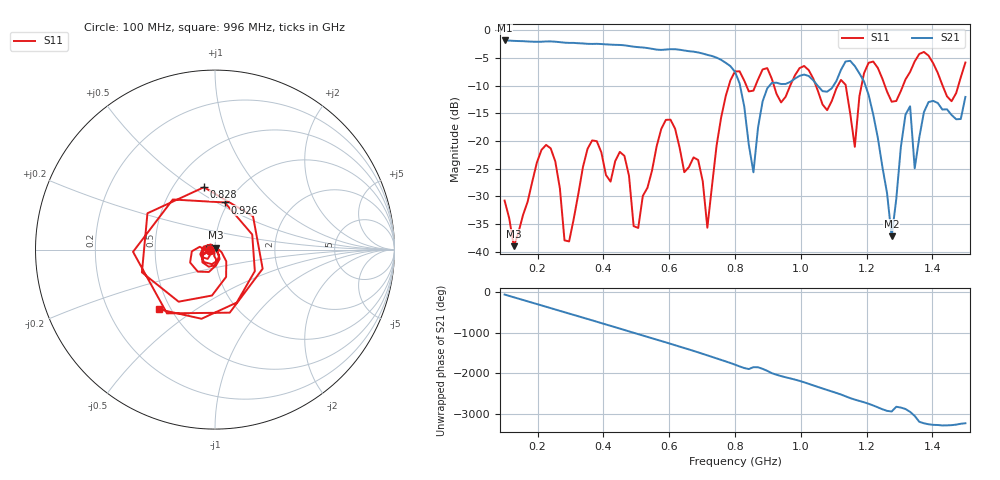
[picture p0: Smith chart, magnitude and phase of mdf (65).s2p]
! NanoVNA-App
! Date: 2025-09-25 15:38:56
! Start: 100MHz Stop: 1,5GHz Points: 101
! S-Parameter data: F S11 S21 S12 S22
# Hz S RI R 50
!  Frequency  S11_Real  S11_Imag  S21_Real  S21_Imag  S12_Real  S12_Imag  S22_Real  S22_Imag
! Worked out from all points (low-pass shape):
!   101 points, 100 MHz to 1.5 GHz, reference 50 ohm
!   highest |S21| = -1.80 dB at 100 MHz (marker M1); lowest = -37.2 dB at 1.276 GHz (marker M2)
!   |S21| within 3 dB of the highest: start of sweep to 739.2 MHz
!   lowest |S11| = -39.0 dB at 128 MHz (marker M3), VSWR 1.02, Z = 50.3 + j1.08 ohm
!   |S11| at or under -10 dB: start of sweep to 781.1 MHz; 1.046 GHz to 1.112 GHz (66.29 MHz wide, 6.14 % of centre); 1.256 GHz to 1.31 GHz (54.68 MHz wide, 4.26 % of centre) (the widest 3 of 7)
!   S12 and S22 are empty: the file has one direction only
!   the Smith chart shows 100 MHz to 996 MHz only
!   S11 on the Smith chart (normalised r, x): 100 MHz: 0.94, -0.01; 828 MHz: 0.70, +0.56; 926 MHz: 0.96, +0.55; 996 MHz: 0.43, -0.36
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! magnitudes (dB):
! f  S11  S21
! 100 MHz  -30.8  -1.8
! 128 MHz  -39.0  -1.9
! 212 MHz  -21.6  -2.0
! 282 MHz  -37.9  -2.2
! 338 MHz  -24.7  -2.3
! 464 MHz  -22.7  -2.7
! 506 MHz  -35.7  -3.0
! 576 MHz  -17.8  -3.5
! 688 MHz  -23.4  -4.0
! 716 MHz  -35.7  -4.4
! 800 MHz  -7.4  -7.5
! 828 MHz  -9.0  -13.7
! 856 MHz  -10.9  -25.6
! 926 MHz  -11.4  -9.4
! 996 MHz  -6.8  -8.2
! 1.038 GHz  -8.7  -9.0
! 1.164 GHz  -21.0  -6.4
! 1.192 GHz  -7.7  -9.2
! 1.276 GHz  -12.9  -37.2
! 1.318 GHz  -8.8  -15.2
! 1.346 GHz  -5.6  -24.9
! 1.5 GHz  -5.8  -12.0
